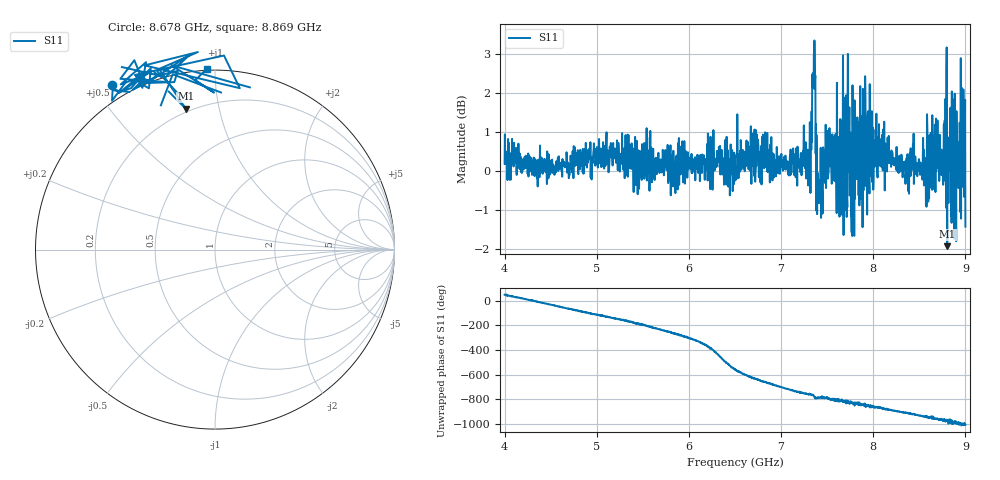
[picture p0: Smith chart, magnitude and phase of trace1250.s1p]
! Created with skrf 1.8.0 (http://scikit-rf.org).
# Hz S RI R 50.0
!freq ReS11 ImS11
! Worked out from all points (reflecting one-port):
!   1601 points, 4 GHz to 9 GHz, reference 50 ohm
!   lowest |S11| = -1.9 dB at 8.803 GHz (marker M1), VSWR 9.07, Z = 9.09 + j39.9 ohm
!   phase of S11 starts at 49 deg and turns -1056 deg over the sweep
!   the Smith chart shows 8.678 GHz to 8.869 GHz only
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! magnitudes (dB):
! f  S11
! 4 GHz  0.2
! 4.625 GHz  -0.1
! 5.25 GHz  0.0
! 5.875 GHz  0.3
! 6.5 GHz  0.1
! 6.725 GHz  0.0
! 7.125 GHz  0.3
! 7.294 GHz  -0.4
! 7.316 GHz  0.7
! 7.347 GHz  2.2
! 7.362 GHz  3.3
! 7.4 GHz  -0.1
! 7.428 GHz  0.6
! 7.509 GHz  -0.2
! 7.609 GHz  -0.5
! 7.669 GHz  0.8
! 7.75 GHz  -0.3
! 7.769 GHz  -0.3
! 7.8 GHz  -0.7
! 7.962 GHz  2.2
! 7.981 GHz  -0.1
! 8.375 GHz  0.0
! 8.803 GHz  -1.9
! 8.819 GHz  0.7
! 8.825 GHz  0.1
! 8.919 GHz  -0.1
! 8.972 GHz  0.9
! 9 GHz  -1.4
